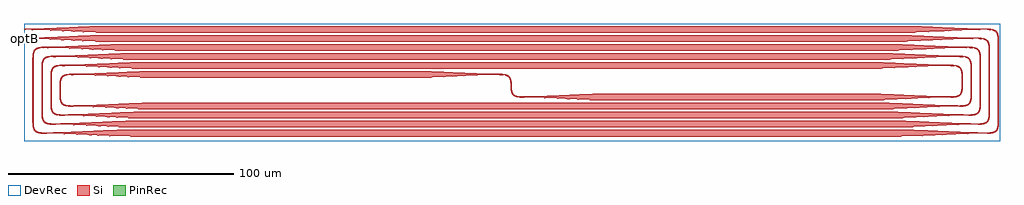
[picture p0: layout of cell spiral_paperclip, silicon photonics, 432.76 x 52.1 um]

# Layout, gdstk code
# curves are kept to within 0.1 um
import gdstk
lib = gdstk.Library(unit=1e-6, precision=1e-09)
def R(c, l, rs):  # rectangles x0, y0, x1, y1
    for r in rs: c.add(gdstk.rectangle(r[:2], r[2:], *l))
def P(c, l, *ps):  # polygons
    for p in ps: c.add(gdstk.Polygon(p, *l))
Si = (1, 0)
PinRec = (1, 10)
DevRec = (68, 0)

spiral_paperclip = lib.new_cell('spiral_paperclip')
R(spiral_paperclip, Si, [(-167,-22.5,171,-19.5), (-163,-18.5,167,-15.5), (-159,-14.5,163,-11.5), (-155,-10.5,159,-7.5), (45,-6.5,155,-3.5), (-155,3.5,-45,6.5), (-159,7.5,155,10.5), (-163,11.5,159,14.5), (-167,15.5,163,18.5), (-176,19.5,167,22.5), (-176,23.5,171,26.5)])
P(spiral_paperclip, Si, [(171,-22.5),(171,-19.5),(181.28,-19.693),(202.12,-20.605),(211,-20.75),(211,-21.25),(202.28,-21.39),(181.28,-22.307)],
  [(167,-18.5),(167,-15.5),(177.28,-15.693),(198.12,-16.605),(207,-16.75),(207,-17.25),(198.28,-17.39),(177.28,-18.307)],
  [(163,-14.5),(163,-11.5),(173.28,-11.693),(194.12,-12.605),(203,-12.75),(203,-13.25),(194.28,-13.39),(173.28,-14.307)],
  [(159,-10.5),(159,-7.5),(169.28,-7.693),(190.12,-8.605),(199,-8.75),(199,-9.25),(190.28,-9.39),(169.28,-10.307)],
  [(155,-6.5),(155,-3.5),(165.28,-3.693),(186.12,-4.605),(195,-4.75),(195,-5.25),(186.28,-5.39),(165.28,-6.307)],
  [(-45,3.5),(-45,6.5),(-34.72,6.307),(-13.88,5.395),(-5,5.25),(-5,4.75),(-13.72,4.61),(-34.72,3.693)],
  [(155,7.5),(155,10.5),(165.28,10.307),(186.12,9.395),(195,9.25),(195,8.75),(186.28,8.61),(165.28,7.693)],
  [(159,11.5),(159,14.5),(169.28,14.307),(190.12,13.395),(199,13.25),(199,12.75),(190.28,12.61),(169.28,11.693)],
  [(163,15.5),(163,18.5),(173.28,18.307),(194.12,17.395),(203,17.25),(203,16.75),(194.28,16.61),(173.28,15.693)],
  [(167,19.5),(167,22.5),(177.28,22.307),(198.12,21.395),(207,21.25),(207,20.75),(198.28,20.61),(177.28,19.693)],
  [(171,23.5),(171,26.5),(181.28,26.307),(202.12,25.395),(211,25.25),(211,24.75),(202.28,24.61),(181.28,23.693)],
  [(-167,-22.5),(-177.28,-22.307),(-198.12,-21.395),(-207,-21.25),(-207,-20.75),(-198.28,-20.61),(-177.28,-19.693),(-167,-19.5)],
  [(-163,-18.5),(-173.28,-18.307),(-194.12,-17.395),(-203,-17.25),(-203,-16.75),(-194.28,-16.61),(-173.28,-15.693),(-163,-15.5)],
  [(-159,-14.5),(-169.28,-14.307),(-190.12,-13.395),(-199,-13.25),(-199,-12.75),(-190.28,-12.61),(-169.28,-11.693),(-159,-11.5)],
  [(-155,-10.5),(-165.28,-10.307),(-186.12,-9.395),(-195,-9.25),(-195,-8.75),(-186.28,-8.61),(-165.28,-7.693),(-155,-7.5)],
  [(45,-6.5),(34.72,-6.307),(13.88,-5.395),(5,-5.25),(5,-4.75),(13.72,-4.61),(34.72,-3.693),(45,-3.5)],
  [(-155,3.5),(-165.28,3.693),(-186.12,4.605),(-195,4.75),(-195,5.25),(-186.28,5.39),(-165.28,6.307),(-155,6.5)],
  [(-159,7.5),(-169.28,7.693),(-190.12,8.605),(-199,8.75),(-199,9.25),(-190.28,9.39),(-169.28,10.307),(-159,10.5)],
  [(-163,11.5),(-173.28,11.693),(-194.12,12.605),(-203,12.75),(-203,13.25),(-194.28,13.39),(-173.28,14.307),(-163,14.5)],
  [(-167,15.5),(-177.28,15.693),(-198.12,16.605),(-207,16.75),(-207,17.25),(-198.28,17.39),(-177.28,18.307),(-167,18.5)],
  [(-176,19.5),(-186.28,19.693),(-207.12,20.605),(-216,20.75),(-216,21.25),(-207.28,21.39),(-186.28,22.307),(-176,22.5)],
  [(-176,23.5),(-186.28,23.693),(-207.12,24.605),(-216,24.75),(-216,25.25),(-207.28,25.39),(-186.28,26.307),(-176,26.5)],
  [(211,-21.25),(211,-20.75),(212.385,-20.697),(213.479,-20.522),(214.303,-20.21),(214.896,-19.747),(215.313,-19.094),(215.554,-18.342),(215.711,-17.207),(215.75,-16),(215.75,20),(215.66,21.728),(215.522,22.479),(215.314,23.093),(214.966,23.667),(214.583,24.03),(213.982,24.36),(213.197,24.584),(212.207,24.711),(211,24.75),(211,25.25),(212.432,25.194),(213.604,25.005),(214.544,24.647),(215.177,24.177),(215.648,23.543),(216.006,22.603),(216.195,21.431),(216.25,20),(216.25,-16),(216.155,-17.791),(215.965,-18.751),(215.71,-19.423),(215.266,-20.083),(214.771,-20.51),(214.167,-20.825),(213.292,-21.075),(212.242,-21.21)],
  [(195,-5.25),(195,-4.75),(196.206,-4.712),(197.341,-4.555),(198.093,-4.314),(198.667,-3.966),(199.03,-3.583),(199.313,-3.094),(199.554,-2.342),(199.678,-1.56),(199.748,-0.217),(199.746,4.427),(199.66,5.728),(199.486,6.612),(199.263,7.2),(198.966,7.667),(198.583,8.03),(198.094,8.313),(196.89,8.637),(195,8.75),(195,9.25),(196.614,9.176),(197.894,8.922),(198.772,8.509),(199.433,7.88),(199.923,6.893),(200.132,5.963),(200.241,4.647),(200.248,-0.223),(200.176,-1.614),(200.005,-2.604),(199.71,-3.423),(199.266,-4.083),(198.771,-4.51),(198.167,-4.825),(197.292,-5.075),(196.242,-5.21)],
  [(203,-13.25),(203,-12.75),(204.385,-12.697),(205.479,-12.522),(206.303,-12.21),(206.896,-11.747),(207.313,-11.094),(207.554,-10.342),(207.711,-9.207),(207.75,-8),(207.749,12.217),(207.585,14.196),(207.21,15.303),(206.897,15.746),(206.494,16.093),(205.865,16.405),(205.197,16.584),(204.207,16.711),(203,16.75),(203,17.25),(204.432,17.194),(205.604,17.005),(206.544,16.647),(207.177,16.177),(207.648,15.543),(208.006,14.603),(208.195,13.431),(208.25,12),(208.248,-8.223),(208.194,-9.432),(208.042,-10.45),(207.824,-11.168),(207.509,-11.772),(207.082,-12.267),(206.543,-12.648),(205.893,-12.923),(205.13,-13.105)],
  [(207,-17.25),(207,-16.75),(208.386,-16.696),(209.48,-16.521),(210.304,-16.209),(210.897,-15.746),(211.314,-15.093),(211.555,-14.341),(211.712,-13.206),(211.75,-12),(211.75,16),(211.637,17.89),(211.485,18.613),(211.262,19.201),(210.965,19.668),(210.582,20.031),(209.981,20.361),(209.196,20.585),(208.206,20.712),(207,20.75),(207,21.25),(208.431,21.195),(209.603,21.006),(210.543,20.648),(211.177,20.177),(211.647,19.544),(212.005,18.604),(212.194,17.432),(212.25,16),(212.25,-12),(212.132,-13.963),(211.923,-14.893),(211.648,-15.543),(211.267,-16.082),(210.772,-16.509),(210.168,-16.824),(209.293,-17.074),(208.243,-17.209)],
  [(199,-9.25),(199,-8.75),(200.386,-8.696),(201.48,-8.521),(202.304,-8.209),(202.823,-7.823),(203.21,-7.303),(203.486,-6.612),(203.66,-5.728),(203.741,-4.631),(203.748,8.217),(203.696,9.386),(203.554,10.342),(203.36,10.982),(203.093,11.494),(202.746,11.897),(202.303,12.21),(201.741,12.447),(201.044,12.613),(199,12.75),(199,13.25),(199.647,13.241),(201.449,13.043),(202.167,12.825),(202.66,12.581),(203.177,12.177),(203.509,11.772),(203.769,11.298),(204.005,10.604),(204.176,9.614),(204.245,8.438),(204.241,-4.647),(204.132,-5.963),(203.923,-6.893),(203.581,-7.66),(203.083,-8.266),(202.423,-8.71),(201.604,-9.005),(200.432,-9.194)],
  [(-203,-17.25),(-204.431,-17.195),(-205.603,-17.006),(-206.543,-16.648),(-207.177,-16.177),(-207.647,-15.544),(-208.005,-14.604),(-208.194,-13.432),(-208.25,-12),(-208.249,8.221),(-208.195,9.431),(-208.043,10.449),(-207.825,11.167),(-207.51,11.771),(-207.083,12.266),(-206.544,12.647),(-205.894,12.922),(-205.131,13.104),(-203,13.25),(-203,12.75),(-204.386,12.696),(-205.48,12.521),(-206.304,12.209),(-206.897,11.746),(-207.314,11.093),(-207.555,10.341),(-207.712,9.206),(-207.75,8),(-207.75,-12),(-207.711,-13.207),(-207.584,-14.197),(-207.209,-15.304),(-206.896,-15.747),(-206.493,-16.094),(-205.864,-16.406),(-205.196,-16.585),(-204.206,-16.712),(-203,-16.75)],
  [(-195,-9.25),(-196.242,-9.21),(-197.292,-9.075),(-198.167,-8.825),(-198.771,-8.51),(-199.266,-8.083),(-199.71,-7.423),(-200.005,-6.604),(-200.176,-5.614),(-200.248,-4.223),(-200.241,0.647),(-200.132,1.963),(-199.923,2.893),(-199.433,3.88),(-198.772,4.509),(-197.894,4.922),(-196.614,5.176),(-195,5.25),(-195,4.75),(-196.89,4.637),(-198.094,4.313),(-198.583,4.03),(-198.966,3.667),(-199.263,3.2),(-199.486,2.612),(-199.66,1.728),(-199.746,0.427),(-199.748,-4.217),(-199.678,-5.56),(-199.554,-6.342),(-199.313,-7.094),(-199.03,-7.583),(-198.667,-7.966),(-198.093,-8.314),(-197.341,-8.555),(-196.206,-8.712),(-195,-8.75)],
  [(-207,-21.25),(-208.432,-21.194),(-209.604,-21.005),(-210.544,-20.647),(-211.177,-20.177),(-211.648,-19.543),(-212.006,-18.603),(-212.195,-17.431),(-212.25,-16),(-212.25,12),(-212.131,13.964),(-211.922,14.894),(-211.647,15.544),(-211.266,16.083),(-210.771,16.51),(-210.167,16.825),(-209.292,17.075),(-208.242,17.21),(-207,17.25),(-207,16.75),(-208.385,16.697),(-209.479,16.522),(-210.303,16.21),(-210.896,15.747),(-211.313,15.094),(-211.554,14.342),(-211.711,13.207),(-211.75,12),(-211.75,-16),(-211.638,-17.889),(-211.486,-18.612),(-211.263,-19.2),(-210.966,-19.667),(-210.583,-20.03),(-209.982,-20.36),(-209.197,-20.584),(-208.207,-20.711),(-207,-20.75)],
  [(-199,-13.25),(-200.432,-13.194),(-201.604,-13.005),(-202.423,-12.71),(-203.083,-12.266),(-203.581,-11.66),(-203.923,-10.893),(-204.132,-9.963),(-204.241,-8.647),(-204.245,4.438),(-204.176,5.614),(-204.005,6.604),(-203.769,7.298),(-203.509,7.772),(-203.177,8.177),(-202.66,8.581),(-202.167,8.825),(-201.449,9.043),(-199.647,9.241),(-199,9.25),(-199,8.75),(-201.044,8.613),(-201.741,8.447),(-202.303,8.21),(-202.746,7.897),(-203.093,7.494),(-203.36,6.982),(-203.554,6.342),(-203.696,5.386),(-203.748,4.217),(-203.741,-8.631),(-203.66,-9.728),(-203.486,-10.612),(-203.21,-11.303),(-202.823,-11.823),(-202.304,-12.209),(-201.48,-12.521),(-200.386,-12.696),(-199,-12.75)],
  [(5,-5.25),(3.568,-5.194),(2.396,-5.005),(1.456,-4.647),(0.823,-4.177),(0.289,-3.422),(-0.043,-2.449),(-0.21,-1.242),(-0.363,1.89),(-0.554,2.742),(-0.848,3.401),(-1.418,4.031),(-2.259,4.447),(-3.441,4.679),(-5,4.75),(-5,5.25),(-3.569,5.195),(-2.397,5.006),(-1.457,4.648),(-0.823,4.177),(-0.29,3.423),(0.042,2.45),(0.209,1.243),(0.362,-1.889),(0.553,-2.741),(0.847,-3.4),(1.417,-4.03),(2.258,-4.446),(3.44,-4.678),(5,-4.75)])
R(spiral_paperclip, DevRec, [(-216,-24.6,216.75,27.5)])
spiral_paperclip.add(gdstk.FlexPath([(-215.99,21),(-216.01,21)], 0.5, ends="flush", simple_path=True, layer=1, datatype=10))  # PinRec
spiral_paperclip.add(gdstk.FlexPath([(-215.99,25),(-216.01,25)], 0.5, ends="flush", simple_path=True, layer=1, datatype=10))  # PinRec
spiral_paperclip.add(gdstk.Label('optB', (-216,21), layer=1, texttype=10))
spiral_paperclip.add(gdstk.Label('optA', (-216,25), layer=1, texttype=10))

lib.write_gds('spiral_paperclip.gds')
